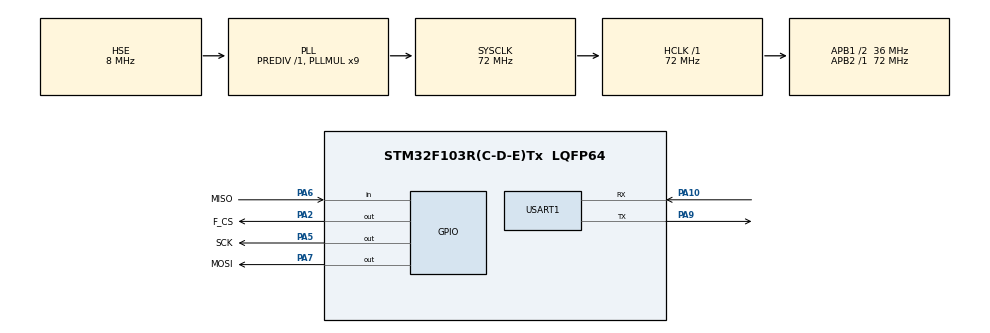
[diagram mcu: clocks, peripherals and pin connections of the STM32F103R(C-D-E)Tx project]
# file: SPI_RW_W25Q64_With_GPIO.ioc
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Mcu.Family=STM32F1
Mcu.Name=STM32F103R(C-D-E)Tx
Mcu.Package=LQFP64
NVIC.PriorityGroup=NVIC_PRIORITYGROUP_4
PA10.Mode=Asynchronous
PA10.Signal=USART1_RX
PA13.Mode=Serial_Wire
PA13.Signal=SYS_JTMS-SWDIO
PA14.Mode=Serial_Wire
PA14.Signal=SYS_JTCK-SWCLK
PA2.GPIO_Label=F_CS
PA2.GPIO_Speed=GPIO_SPEED_FREQ_HIGH
PA2.PinState=GPIO_PIN_SET
PA2.Signal=GPIO_Output
PA5.GPIO_Label=SCK
PA5.GPIO_Speed=GPIO_SPEED_FREQ_HIGH
PA5.PinState=GPIO_PIN_SET
PA5.Signal=GPIO_Output
PA6.GPIO_Label=MISO
PA6.GPIO_PuPd=GPIO_PULLUP
PA6.Signal=GPIO_Input
PA7.GPIO_Label=MOSI
PA7.GPIO_Speed=GPIO_SPEED_FREQ_HIGH
PA7.PinState=GPIO_PIN_RESET
PA7.Signal=GPIO_Output
PA9.Mode=Asynchronous
PA9.Signal=USART1_TX
PC14-OSC32_IN.Mode=LSE-External-Oscillator
PC14-OSC32_IN.Signal=RCC_OSC32_IN
PC15-OSC32_OUT.Mode=LSE-External-Oscillator
PC15-OSC32_OUT.Signal=RCC_OSC32_OUT
PD0-OSC_IN.Mode=HSE-External-Oscillator
PD0-OSC_IN.Signal=RCC_OSC_IN
PD1-OSC_OUT.Mode=HSE-External-Oscillator
PD1-OSC_OUT.Signal=RCC_OSC_OUT
ProjectManager.HeapSize=0x200
ProjectManager.StackSize=0x400
ProjectManager.TargetToolchain=STM32CubeIDE
RCC.AHBFreq_Value=72000000
RCC.APB1CLKDivider=RCC_HCLK_DIV2
RCC.APB1Freq_Value=36000000
RCC.APB1TimFreq_Value=72000000
RCC.APB2Freq_Value=72000000
RCC.APB2TimFreq_Value=72000000
RCC.HCLKFreq_Value=72000000
RCC.PLLMUL=RCC_PLL_MUL9
RCC.PLLSourceVirtual=RCC_PLLSOURCE_HSE
RCC.SYSCLKFreq_VALUE=72000000
RCC.SYSCLKSource=RCC_SYSCLKSOURCE_PLLCLK
RCC.USBFreq_Value=72000000
USART1.VirtualMode=VM_ASYNC
board=custom

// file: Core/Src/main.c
/* USER CODE BEGIN Header */
/**
  ******************************************************************************
  * @file           : main.c
  * @brief          : Main program body
  ******************************************************************************
  * @attention
  *
  * Copyright (c) 2023 STMicroelectronics.
  * All rights reserved.
  *
  * This software is licensed under terms that can be found in the LICENSE file
  * in the root directory of this software component.
  * If no LICENSE file comes with this software, it is provided AS-IS.
  *
  ******************************************************************************
  */
/* USER CODE END Header */
#include "main.h"

/* USER CODE BEGIN Includes */
#include "retarget.h"
#include "SPI/spi.h"
#include "FLASH/flash.h"
/* USER CODE END Includes */

UART_HandleTypeDef huart1;

void SystemClock_Config(void);
static void MX_GPIO_Init(void);
static void MX_USART1_UART_Init(void);

/* USER CODE BEGIN 0 */
uint8_t  MID;
uint16_t  DID;
/* USER CODE END 0 */

int main(void)
{
  /* USER CODE BEGIN 1 */
    RetargetInit(&huart1);
  /* USER CODE END 1 */

  /* MCU Configuration--------------------------------------------------------*/

  /* Reset of all peripherals, Initializes the Flash interface and the Systick. */
  HAL_Init();

  /* Configure the system clock */
  SystemClock_Config();

  /* Initialize all configured peripherals */
  MX_GPIO_Init();
  MX_USART1_UART_Init();
  /* USER CODE BEGIN 2 */
    SPI_INIT();
    Flash_ReadID(&MID, &DID);
    printf("----------MODE 0--------------\n");
    printf("MID MODE0: %X\n", MID);
    printf("DID MODE0: %X\n", DID);

    SPI_INIT_MODE3();
    Flash_ReadID_Mode3(&MID, &DID);
    printf("----------MODE 3--------------\n");
    printf("MID MODE3: %X\n", MID);
    printf("DID MODE3: %X\n", DID);
  /* USER CODE END 2 */

  /* Infinite loop */
  while (1)
  {

  }
}

void SystemClock_Config(void)
{
  RCC_OscInitTypeDef RCC_OscInitStruct = {0};
  RCC_ClkInitTypeDef RCC_ClkInitStruct = {0};

  /** Initializes the RCC Oscillators according to the specified parameters
  * in the RCC_OscInitTypeDef structure.
  */
  RCC_OscInitStruct.OscillatorType = RCC_OSCILLATORTYPE_HSE;
  RCC_OscInitStruct.HSEState = RCC_HSE_ON;
  RCC_OscInitStruct.HSEPredivValue = RCC_HSE_PREDIV_DIV1;
  RCC_OscInitStruct.HSIState = RCC_HSI_ON;
  RCC_OscInitStruct.PLL.PLLState = RCC_PLL_ON;
  RCC_OscInitStruct.PLL.PLLSource = RCC_PLLSOURCE_HSE;
  RCC_OscInitStruct.PLL.PLLMUL = RCC_PLL_MUL9;
  if (HAL_RCC_OscConfig(&RCC_OscInitStruct) != HAL_OK)
  {
    Error_Handler();
  }

  /** Initializes the CPU, AHB and APB buses clocks
  */
  RCC_ClkInitStruct.ClockType = RCC_CLOCKTYPE_HCLK|RCC_CLOCKTYPE_SYSCLK
                              |RCC_CLOCKTYPE_PCLK1|RCC_CLOCKTYPE_PCLK2;
  RCC_ClkInitStruct.SYSCLKSource = RCC_SYSCLKSOURCE_PLLCLK;
  RCC_ClkInitStruct.AHBCLKDivider = RCC_SYSCLK_DIV1;
  RCC_ClkInitStruct.APB1CLKDivider = RCC_HCLK_DIV2;
  RCC_ClkInitStruct.APB2CLKDivider = RCC_HCLK_DIV1;

  if (HAL_RCC_ClockConfig(&RCC_ClkInitStruct, FLASH_LATENCY_2) != HAL_OK)
  {
    Error_Handler();
  }
}

static void MX_USART1_UART_Init(void)
{

  huart1.Instance = USART1;
  huart1.Init.BaudRate = 115200;
  huart1.Init.WordLength = UART_WORDLENGTH_8B;
  huart1.Init.StopBits = UART_STOPBITS_1;
  huart1.Init.Parity = UART_PARITY_NONE;
  huart1.Init.Mode = UART_MODE_TX_RX;
  huart1.Init.HwFlowCtl = UART_HWCONTROL_NONE;
  huart1.Init.OverSampling = UART_OVERSAMPLING_16;
  if (HAL_UART_Init(&huart1) != HAL_OK)
  {
    Error_Handler();
  }

}

static void MX_GPIO_Init(void)
{
  GPIO_InitTypeDef GPIO_InitStruct = {0};

  /* GPIO Ports Clock Enable */
  __HAL_RCC_GPIOC_CLK_ENABLE();
  __HAL_RCC_GPIOD_CLK_ENABLE();
  __HAL_RCC_GPIOA_CLK_ENABLE();

  /*Configure GPIO pin Output Level */
  HAL_GPIO_WritePin(GPIOA, F_CS_Pin|SCK_Pin, GPIO_PIN_SET);

  /*Configure GPIO pin Output Level */
  HAL_GPIO_WritePin(MOSI_GPIO_Port, MOSI_Pin, GPIO_PIN_RESET);

  /*Configure GPIO pins : F_CS_Pin SCK_Pin MOSI_Pin */
  GPIO_InitStruct.Pin = F_CS_Pin|SCK_Pin|MOSI_Pin;
  GPIO_InitStruct.Mode = GPIO_MODE_OUTPUT_PP;
  GPIO_InitStruct.Pull = GPIO_NOPULL;
  GPIO_InitStruct.Speed = GPIO_SPEED_FREQ_HIGH;
  HAL_GPIO_Init(GPIOA, &GPIO_InitStruct);

  /*Configure GPIO pin : MISO_Pin */
  GPIO_InitStruct.Pin = MISO_Pin;
  GPIO_InitStruct.Mode = GPIO_MODE_INPUT;
  GPIO_InitStruct.Pull = GPIO_PULLUP;
  HAL_GPIO_Init(MISO_GPIO_Port, &GPIO_InitStruct);

}

void Error_Handler(void)
{
  __disable_irq();
  while (1)
  {
  }
}
